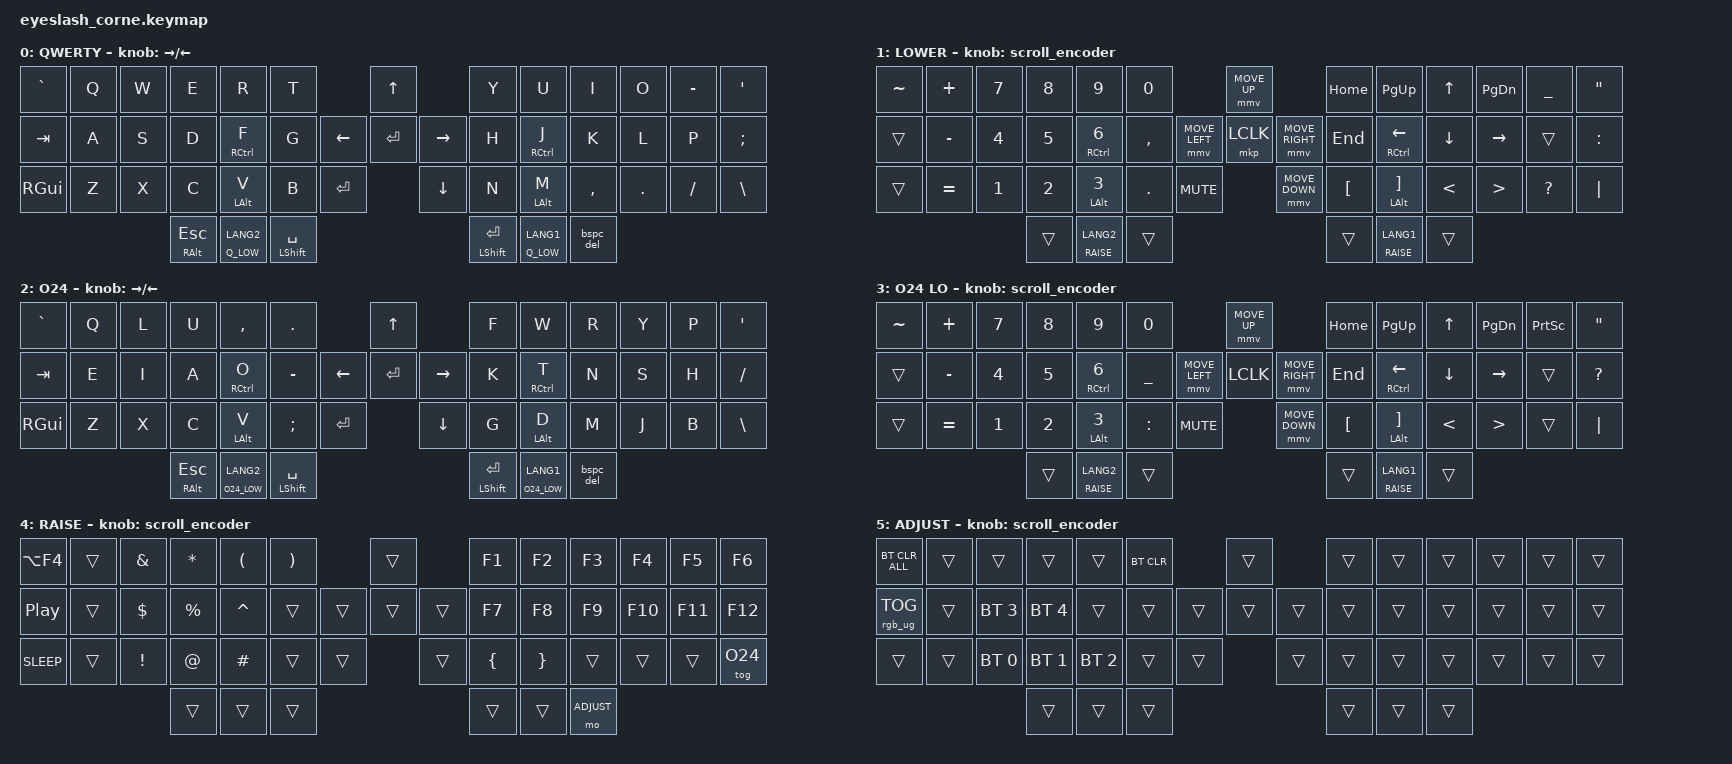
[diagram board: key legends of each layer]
#include <input/processors.dtsi>
#include <zephyr/dt-bindings/input/input-event-codes.h>
#include <behaviors.dtsi>
#include <dt-bindings/zmk/bt.h>
#include <dt-bindings/zmk/ext_power.h>
#include <dt-bindings/zmk/keys.h>
#include <dt-bindings/zmk/pointing.h>
#include <dt-bindings/zmk/outputs.h>
#include <dt-bindings/zmk/rgb.h>

#define QWERTY  0
#define Q_LOW   1
#define O24     2
#define O24_LOW 3
#define RAISE   4
#define ADJUST  5

&mmv_input_listener { input-processors = <&zip_xy_scaler 2 1>; };

&msc_input_listener { input-processors = <&zip_scroll_scaler 2 1>; };

&msc {
    acceleration-exponent = <1>;      // 0
    time-to-max-speed-ms = <100>;     // 300
    delay-ms = <0>;                   // 0
};

&mmv {
    time-to-max-speed-ms = <500>;
    acceleration-exponent = <1>;
    trigger-period-ms = <16>;
};

/ {
    behaviors {
        hm: homerow_mods {
            compatible = "zmk,behavior-hold-tap";
            #binding-cells = <2>;
            bindings = <&kp>, <&kp>;

            flavor = "tap-preferred";
            tapping-term-ms = <180>;
            quick-tap-ms = <180>;
            require-prior-idle-ms = <125>;
        };

        bspc_del: backspace_delete {
            compatible = "zmk,behavior-mod-morph";
            #binding-cells = <0>;
            bindings = <&kp BACKSPACE>, <&kp DELETE>;
            mods = <(MOD_LSFT|MOD_RSFT)>;
        };

        rgb_encoder: rgb_encoder {
            compatible = "zmk,behavior-sensor-rotate";
            #sensor-binding-cells = <0>;
            bindings = <&rgb_ug RGB_BRI>, <&rgb_ug RGB_BRD>;
        };

        scroll_encoder: scroll_encoder {
            compatible = "zmk,behavior-sensor-rotate";
            #sensor-binding-cells = <0>;
            bindings = <&msc SCRL_DOWN>, <&msc SCRL_UP>;
            tap-ms = <100>;
        };
    };

    keymap {
        compatible = "zmk,keymap";

        qwerty_layer {
            display-name = "QWERTY";
            bindings = <
&kp GRAVE           &kp Q               &kp W               &kp E               &kp R               &kp T                                                   &kp UP                          &kp Y               &kp U               &kp I               &kp O               &kp MINUS           &kp SQT
&kp TAB             &kp A               &kp S               &kp D               &hm RCTRL F         &kp G                                   &kp LEFT        &kp ENTER       &kp RIGHT       &kp H               &hm RCTRL J         &kp K               &kp L               &kp P               &kp SEMI
&kp RGUI            &kp Z               &kp X               &kp C               &hm LALT  V         &kp B               &kp ENTER                           &kp DOWN                        &kp N               &hm LALT  M         &kp COMMA           &kp DOT             &kp FSLH            &kp BSLH
                                                            &hm RALT ESC        &lt Q_LOW LANG2     &hm LSHIFT SPACE                                                                        &hm LSHIFT ENTER    &lt Q_LOW LANG1     &bspc_del
            >;
             sensor-bindings = <&inc_dec_kp RIGHT LEFT>; 
        };

        qwerty_lower_layer {
            display-name = "LOWER";
            bindings = <
&kp TILDE           &kp PLUS            &kp N7              &kp N8              &kp N9              &kp N0                                                  &mmv MOVE_UP                    &kp HOME            &kp PG_UP           &kp UP              &kp PG_DN           &kp UNDER           &kp DQT
&trans              &kp MINUS           &kp N4              &kp N5              &hm RCTRL N6        &kp COMMA                               &mmv MOVE_LEFT  &mkp LCLK       &mmv MOVE_RIGHT &kp END             &hm RCTRL LEFT      &kp DOWN            &kp RIGHT           &trans              &kp COLON
&trans              &kp EQUAL           &kp N1              &kp N2              &hm LALT  N3        &kp DOT             &kp C_MUTE                          &mmv MOVE_DOWN                  &kp LBKT            &hm LALT  RBKT      &kp LT              &kp GT              &kp QMARK           &kp PIPE
                                                            &trans              &lt RAISE LANG2     &trans                                                                                  &trans              &lt RAISE LANG1     &trans
            >;
            sensor-bindings = <&scroll_encoder>;
        };

        o24_layer {
            display-name = "O24";
            bindings = <
&kp GRAVE           &kp Q               &kp L               &kp U               &kp COMMA           &kp DOT                                                 &kp UP                          &kp F               &kp W               &kp R               &kp Y               &kp P               &kp SQT
&kp TAB             &kp E               &kp I               &kp A               &hm RCTRL O         &kp MINUS                               &kp LEFT        &kp ENTER       &kp RIGHT       &kp K               &hm RCTRL T         &kp N               &kp S               &kp H               &kp FSLH
&kp RGUI            &kp Z               &kp X               &kp C               &hm LALT  V         &kp SEMI            &kp ENTER                           &kp DOWN                        &kp G               &hm LALT  D         &kp M               &kp J               &kp B               &kp BSLH
                                                            &hm RALT ESC        &lt O24_LOW LANG2   &hm LSHIFT SPACE                                                                        &hm LSHIFT ENTER    &lt O24_LOW LANG1   &bspc_del
            >;
            sensor-bindings = <&inc_dec_kp RIGHT LEFT>;
        };

        o24_lower_layer {
            display-name = "O24 LO";
            bindings = <
&kp TILDE           &kp PLUS            &kp N7              &kp N8              &kp N9              &kp N0                                                  &mmv MOVE_UP                    &kp HOME            &kp PG_UP           &kp UP              &kp PG_DN           &kp PSCRN           &kp DQT
&trans              &kp MINUS           &kp N4              &kp N5              &hm RCTRL N6        &kp UNDER                               &mmv MOVE_LEFT  &kp LCLK        &mmv MOVE_RIGHT &kp END             &hm RCTRL LEFT      &kp DOWN            &kp RIGHT           &trans              &kp QMARK
&trans              &kp EQUAL           &kp N1              &kp N2              &hm LALT  N3        &kp COLON           &kp C_MUTE                          &mmv MOVE_DOWN                  &kp LBKT            &hm LALT  RBKT      &kp LT              &kp GT              &trans              &kp PIPE
                                                            &trans              &lt RAISE LANG2     &trans                                                                                  &trans              &lt RAISE LANG1     &trans
            >;
            sensor-bindings = <&scroll_encoder>;
        };

        raise_layer {
            display-name = "RAISE";
            bindings = <
&kp LA(F4)          &trans              &kp AMPS            &kp ASTRK           &kp LPAR            &kp RPAR                                                &trans                          &kp F1              &kp F2              &kp F3              &kp F4              &kp F5              &kp F6
&kp C_PLAY_PAUSE    &trans              &kp DLLR            &kp PRCNT           &kp CARET           &trans                                  &trans          &trans          &trans          &kp F7              &kp F8              &kp F9              &kp F10             &kp F11             &kp F12
&kp C_SLEEP         &trans              &kp EXCL            &kp AT              &kp HASH            &trans              &trans                              &trans                          &kp LBRC            &kp RBRC            &trans              &trans              &trans              &tog O24
                                                            &trans              &trans              &trans                                                                                  &trans              &trans              &mo ADJUST
            >;
            sensor-bindings = <&scroll_encoder>;
        };

        adjust_layer {
            display-name = "ADJUST";
            bindings = <
&bt BT_CLR_ALL      &trans              &trans              &trans              &trans              &bt BT_CLR                                              &trans                          &trans              &trans              &trans              &trans              &trans              &trans
&rgb_ug RGB_TOG     &trans              &bt BT_SEL 3        &bt BT_SEL 4        &trans              &trans                                  &trans          &trans          &trans          &trans              &trans              &trans              &trans              &trans              &trans
&trans              &trans              &bt BT_SEL 0        &bt BT_SEL 1        &bt BT_SEL 2        &trans              &trans                              &trans                          &trans              &trans              &trans              &trans              &trans              &trans
                                                            &trans              &trans              &trans                                                                                  &trans              &trans              &trans
            >;
            sensor-bindings = <&scroll_encoder>;
        };
    };
};
